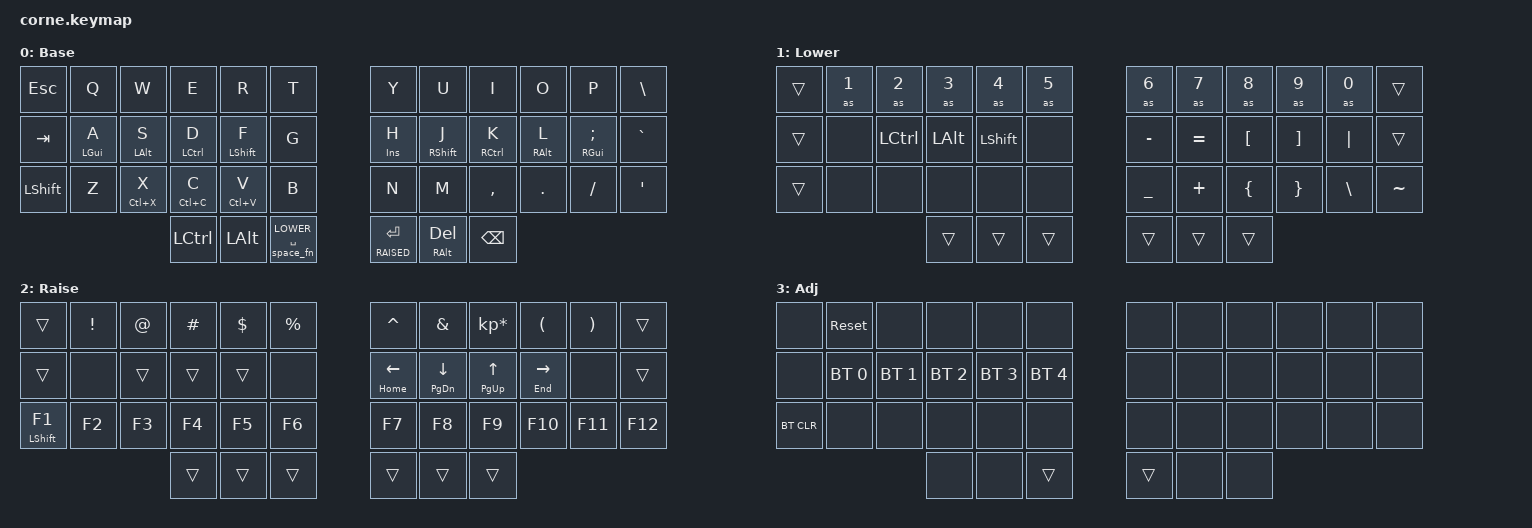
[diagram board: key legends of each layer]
 /*
 * Copyright (c) 2020 The ZMK Contributors
 *
 * SPDX-License-Identifier: MIT
 */

#include <behaviors.dtsi>
#include <dt-bindings/zmk/keys.h>
#include <dt-bindings/zmk/bt.h>
#include <dt-bindings/zmk/ext_power.h>
#include "config.h"
#define ADJUST 3
// Key position helpers for homerow mods (Corne 42-key layout)
#define KEYS_L 0 1 2 3 4 12 13 14 15 16 24 25 26 27 28  // left hand
#define KEYS_R 5 6 7 8 9 17 18 19 20 21 29 30 31 32 33  // right hand  
#define THUMBS 34 35 36 37 38 39                         // thumbs
#include "my-behaviours.dtsi"

/ {


 macros {
    shifted: macro_shifted_kp {
      #binding-cells = <1>;
      label = "MACRO_SHIFTED_KP";
      compatible = "zmk,behavior-macro-one-param";
      bindings =
        <&macro_press &kp LSHFT>,
        <&macro_param_1to1 &macro_tap &kp MACRO_PLACEHOLDER>,
        <&macro_release &kp LSHFT>;
    };

    as: autoshift {
      compatible = "zmk,behavior-macro-one-param";
      #binding-cells = <1>;
      label = "AUTOSHIFT_KP";
      bindings =
        <&macro_press>,
        <&macro_param_1to1>,
        <&macro_param_1to2>,
        <&as_ht MACRO_PLACEHOLDER MACRO_PLACEHOLDER>,
        <&macro_pause_for_release>,
        <&macro_release>,
        <&macro_param_1to1>,
        <&macro_param_1to2>,
        <&as_ht MACRO_PLACEHOLDER MACRO_PLACEHOLDER>;
    };
  };
    keymap {
            compatible = "zmk,keymap";
            default_layer {
// -----------------------------------------------------------------------------------------
// | ESC  |  Q  |  W  |  E  |  R  |  T  |   |  Y  |  U   |  I  |  O  |  P   |   \  |
// | TAB  |  A  |  S  |  D  |  F  |  G  |   |  H  |  J   |  K  |  L  |;/lgui|  `   |
// | SHFT |  Z  |  X  |  C  |  V  |  B  |   |  N  |  M   |  ,  |  .  |  /   |  ' |
//                    | CTL | ALT |SPC/LWR| |ENT/RSE| ALT/DEL | BSPC |
                        display-name = "Base";
                        bindings = <
     &kp ESC     &kp Q       &kp W          &kp E       &kp R        &kp T           &kp Y        &kp U        &kp I        &kp O        &kp P      &kp BSLH
     &kp TAB     &hml LGUI A &hml LALT S &hml LCTRL D &hml LSHFT F   &kp G           &ht INSERT H &hmr RSHFT J &hmr RCTRL K &hmr RALT L &hmr RGUI SEMI &kp GRAVE   
     &kp LSHFT   &kp Z       &ht LC(X) X    &ht LC(C) C &ht LC(V) V  &kp B           &kp N        &kp M        &kp COMMA    &kp DOT      &kp FSLH   &kp SQT
                                            &kp LCTRL   &kp LALT   &space_fn LOWER SPACE &lt RAISED RET  &mt RALT DEL &kp BSPC
                        >;
                };
            lower_layer {
// -----------------------------------------------------------------------------------------
// |  ESC |  1  |  2  |  3  |  4  |  5  |   |  6  |  7  |  8  |  9  |  0  |   \  |
// | TAB  | xxx |lctrl| LALT|LSHT | xxx |   |  -  |  =  |  [  |  ]  |  \  |  `   |
// | SHFT |     |     | xxx | xxx | xxx |   |  _  |  +  |  {  |  }  | "|" |  ~   |
//                    | CTL | ALT | SPC |   | ENT | ALT/DEL | BSPC |
                        display-name = "Lower";
                        bindings = <
     &trans      &as N1         &as N2         &as N3        &as N4            &as N5            &as N6        &as N7            &as N8             &as N9           &as N0     &trans 
     &trans      &none          &kp LCTRL      &kp LALT      &kp LSHIFT        &none             &kp MINUS     &kp EQUAL         &kp LBKT           &kp RBKT         &kp PIPE   &trans
     &trans      &none          &none          &none         &none             &none             &kp UNDER     &kp PLUS          &kp LBRC           &kp RBRC         &kp BSLH   &kp TILDE
                                               &trans        &trans            &trans            &trans        &trans            &trans
                        >;
            };

            raise_layer {
// -----------------------------------------------------------------------------------------
// |  ESC |  !  |  @  |  #  |  $  |  %  |   |  ^  |  &  |  *  |  (  |  )  |   \  |
// | TAB  | xx  |lctrl| LALT|LSHT | xxx |   | LFT | DWN |  UP | RGT |     |  `   |
// |F1/SHT| F2  | F3  | F4  | F5  | F6  |   | F7  | F8  |  F9 | F10 | F11 |  F12 |
//                    | CTL | ALT | SPC |   | ENT |     | ALT |
                        display-name = "Raise";
                        bindings = <
      &trans          &kp EXCL     &kp AT       &kp HASH     &kp DLLR    &kp PRCNT      &kp CARET     &kp AMPS       &kp KP_MULTIPLY &kp LPAR      &kp RPAR    &trans
      &trans          &none        &trans       &trans       &trans      &none          &ht HOME LEFT &ht PG_DN DOWN &ht PG_UP UP    &ht END RIGHT &none       &trans
      &ht LSHFT F1    &kp F2       &kp F3       &kp F4       &kp F5      &kp F6         &kp F7        &kp F8         &kp F9          &kp F10       &kp F11     &kp F12
                                                &trans       &trans      &trans         &trans        &trans         &trans
                        >;
            };

            adjust_layer {
// -----------------------------------------------------------------------------------------
// |      | RST |     |     |     |     |   |     |     |     |     |     |      |
// |      | BT1 | BT2 | BT3 | BT4 | BT5 |   |     |     |     |     |     |      |
// | CLR  |     |     |     |     |     |   |     |     |     |     |     |      |
//                    |     |     | SPC |   | ENT |     |     |
                        display-name = "Adj";
                        bindings = <

   &none         &sys_reset   &none        &none        &none        &none        &none      &none        &none      &none        &none    &none
   &none         &bt BT_SEL 0 &bt BT_SEL 1 &bt BT_SEL 2 &bt BT_SEL 3 &bt BT_SEL 4 &none      &none        &none      &none        &none    &none
   &bt BT_CLR    &none        &none        &none        &none        &none        &none      &none        &none      &none        &none    &none 
                                           &none        &none        &trans       &trans     &none        &none  
                        >;                  
                };
     };
};
